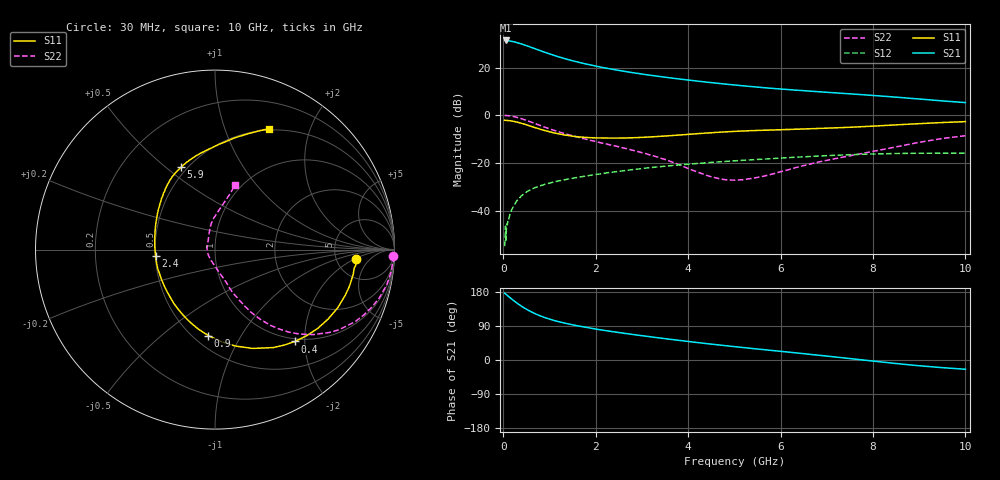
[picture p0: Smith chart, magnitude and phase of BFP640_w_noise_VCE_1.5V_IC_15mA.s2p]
! (c) 2013  Infineon Technologies AG, Munich
! Infineon Technologies  Discrete & RF Semiconductors
! BFP640
! VCE =  1.5 V,  IC =  15 mA
! Common Emitter S-Parameters:  Apr 2013
# GHz  S  MA  R  50
!  f  S11  S21  S12  S22
! GHz  MAG  ANG  MAG  ANG  MAG  ANG  MAG  ANG
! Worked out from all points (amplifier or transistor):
!   99 points, 30 MHz to 10 GHz, reference 50 ohm
!   highest |S21| = 31.4 dB at 50 MHz (marker M1)
!   |S21| within 3 dB of that: start of sweep to 620.8 MHz
!   unconditionally stable (mu >= 1): 3.208 GHz to end of sweep
!   at 350 MHz: K = 0.22, MSG = 32.5 dB, |S12| = -34.8 dB
!   at 3.5 GHz: K = 1.02, MAG = 17.9 dB, |S12| = -21.3 dB
!   at 10 GHz: K = 1.08, MAG = 8.9 dB, |S12| = -15.9 dB
!   lowest NFmin = 0.75 dB at 450 MHz
!   S11 on the Smith chart (normalised r, x): 30 MHz: 7.83, -2.23; 400 MHz: 0.95, -1.80; 900 MHz: 0.59, -0.73; 2.4 GHz: 0.50, -0.04; 5.9 GHz: 0.46, +0.56; 10 GHz: 0.48, +1.43
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0.03  0.7889 -3.9  37.09 176.5  0.0018 72.3  0.9919 -2.1
0.05  0.7893 -6.3  37.28 174.6  0.0047 96.0  0.995 -3.8
0.06  0.7824 -7.7  37.22 173.3  0.0024 81.8  0.9904 -4.6
0.15  0.7692 -19.3  36.24 164.2  0.0089 82.5  0.9728 -12.3
0.25  0.7396 -31.5  34.57 154.5  0.0136 77.0  0.9318 -20.0
0.3  0.7215 -37.5  33.54 150.0  0.0164 73.9  0.9059 -23.7
0.4  0.6787 -48.9  31.43 141.5  0.0208 69.3  0.8465 -30.3
0.5  0.6355 -59.2  29.06 134.2  0.0246 64.7  0.7861 -36.0
0.6  0.5895 -69.1  26.85 127.4  0.0279 62.4  0.7245 -40.8
0.8  0.5116 -86.7  22.81 116.5  0.0332 57.3  0.6145 -48.3
0.9  0.4802 -94.5  21.08 112.0  0.0357 55.6  0.565 -51.3
1.1  0.4276 -108.9  18.14 104.3  0.0401 53.2  0.4836 -55.8
1.2  0.4084 -115.1  16.89 101.1  0.0422 52.0  0.451 -57.6
1.4  0.3783 -127.1  14.84 95.5  0.046 50.6  0.3965 -60.4
1.7  0.3494 -143.2  12.53 88.2  0.0517 48.8  0.3314 -63.2
2.4  0.3333 -173.5  9.124 74.3  0.0649 45.0  0.2305 -69.2
3.4  0.3634 154.6  6.509 57.9  0.0839 38.3  0.127 -80.1
5.1  0.4656 121.7  4.248 34.0  0.1125 24.9  0.0442 178.4
5.9  0.4958 112.5  3.633 24.1  0.1252 18.9  0.0614 128.4
6.7  0.5263 103.4  3.192 14.1  0.1381 11.9  0.0984 109.1
8.5  0.6316 80.1  2.408 -9.3  0.1584 -5.6  0.2179 84.6
10  0.7385 65.9  1.852 -24.4  0.1612 -17.1  0.3738 73.0
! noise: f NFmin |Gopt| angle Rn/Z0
0.45  0.75  0.16  7  0.02
0.9  0.77  0.15  15  0.02
1.5  0.79  0.12  26  0.04
1.9  0.79  0.09  43  0.04
2.4  0.82  0.13  -116  0.05
3.5  0.95  0.19  -105  0.07
5.5  1.16  0.22  -100  0.12
10  1.69  0.57  -57  0.42
